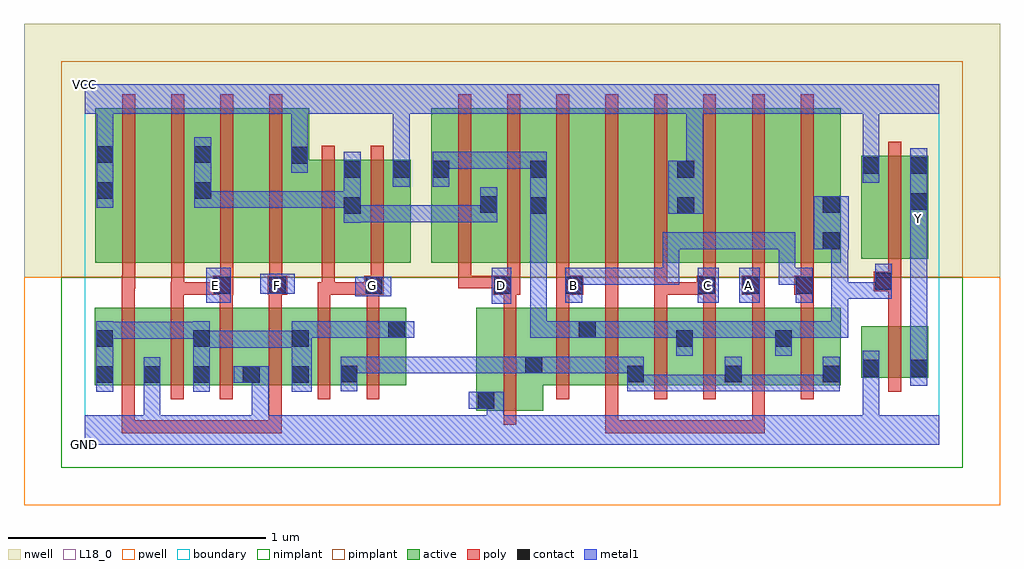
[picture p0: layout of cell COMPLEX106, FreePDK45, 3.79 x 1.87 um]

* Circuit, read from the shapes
.subckt COMPLEX106 A B C D E F G GND VCC Y
M1 GND F n1 VSUBS nfet w=0.3u l=0.05u m=2
M2 n1 E GND VSUBS nfet w=0.3u l=0.05u m=2
M3 n2 G n1 VSUBS nfet w=0.3u l=0.05u m=2
M4 n2 D GND VSUBS nfet w=0.4u l=0.05u
M5 n3 B n2 VSUBS nfet w=0.3u l=0.05u m=2
M6 n2 A n3 VSUBS nfet w=0.3u l=0.05u m=2
M7 n3 C n2 VSUBS nfet w=0.3u l=0.05u m=2
M8 Y n3 GND VSUBS nfet w=0.2u l=0.05u
M9 n4 F VCC n5 pfet w=0.6u l=0.05u
M10 n6 E n4 n5 pfet w=0.6u l=0.05u
M11 n7 E n6 n5 pfet w=0.6u l=0.05u
M12 VCC F n7 n5 pfet w=0.6u l=0.05u
M13 n6 G VCC n5 pfet w=0.4u l=0.05u m=2
M14 n6 D n3 n5 pfet w=0.6u l=0.05u m=2
M15 n8 B n3 n5 pfet w=0.6u l=0.05u
M16 n9 A n8 n5 pfet w=0.6u l=0.05u
M17 VCC C n9 n5 pfet w=0.6u l=0.05u
M18 n10 C VCC n5 pfet w=0.6u l=0.05u
M19 n11 A n10 n5 pfet w=0.6u l=0.05u
M20 n3 B n11 n5 pfet w=0.6u l=0.05u
M21 Y n3 VCC n5 pfet w=0.4u l=0.05u
.ends

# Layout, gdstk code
import gdstk
lib = gdstk.Library(unit=1e-6, precision=1e-09)
def R(c, l, rs):  # rectangles x0, y0, x1, y1
    for r in rs: c.add(gdstk.rectangle(r[:2], r[2:], *l))
def A(c, l, x, y, w, h, nx, ny, dx, dy):  # array of equal rectangles
    R(c, l, [(x+i*dx, y+j*dy, x+i*dx+w, y+j*dy+h) for i in range(nx) for j in range(ny)])
active = (1, 0)
pwell = (2, 0)
nwell = (3, 0)
nimplant = (4, 0)
pimplant = (5, 0)
poly = (9, 0)
contact = (10, 0)
metal1 = (11, 0)
L18_0 = (18, 0)
boundary = (235, 0)

complex106 = lib.new_cell('COMPLEX106')
R(complex106, active, [(1.522,0.132,1.782,0.532), (1.522,0.132,1.597,0.532), (1.707,0.2,1.782,0.405), (0.04,0.232,0.115,0.532), (0.04,0.232,0.3,0.532), (0.225,0.232,0.3,0.437), (0.225,0.232,0.492,0.532), (0.417,0.232,0.685,0.532), (0.417,0.232,0.492,0.517), (0.61,0.232,0.685,0.437), (0.61,0.232,0.875,0.532), (0.8,0.232,1.065,0.532), (0.8,0.232,0.875,0.45), (0.99,0.232,1.25,0.532), (0.99,0.232,1.065,0.392), (1.707,0.232,1.99,0.532), (1.915,0.232,2.177,0.532), (2.102,0.232,2.177,0.437), (2.102,0.232,2.367,0.532), (2.292,0.232,2.557,0.532), (2.482,0.232,2.752,0.532), (2.482,0.232,2.557,0.437), (2.677,0.232,2.937,0.532), (2.862,0.232,2.937,0.532), (3.017,0.26,3.092,0.46), (3.017,0.26,3.277,0.46), (3.202,0.26,3.277,0.46), (1.175,0.295,1.25,0.532), (1.915,0.295,1.99,0.485), (2.292,0.295,2.367,0.517), (2.677,0.295,2.752,0.45), (0.042,0.707,0.267,1.307), (0.042,0.707,0.117,1.307), (0.267,0.707,0.497,1.307), (0.422,0.707,0.497,1.2), (0.422,0.707,0.647,1.307), (0.647,0.707,0.872,1.307), (0.797,0.707,1.077,1.107), (1.002,0.707,1.077,1.107), (1.002,0.707,1.267,1.107), (1.347,0.707,1.422,1.2), (1.347,0.707,1.607,1.307), (1.532,0.707,1.8,1.307), (1.532,0.707,1.607,1.07), (1.725,0.707,1.8,1.2), (1.725,0.707,1.952,1.307), (1.952,0.707,2.142,1.307), (2.142,0.707,2.372,1.307), (2.297,0.707,2.522,1.307), (2.297,0.707,2.372,1.307), (2.522,0.707,2.712,1.307), (2.712,0.707,2.937,1.307), (2.862,0.707,2.937,1.2), (3.017,0.722,3.277,1.122), (3.017,0.722,3.092,1.122), (3.202,0.722,3.277,1.122), (1.192,0.757,1.267,1.107), (0.797,0.827,0.872,1.307)])
R(complex106, pwell, [(-0.235,-0.235,3.555,0.65)])
R(complex106, nwell, [(-0.235,0.65,3.555,1.635)])
R(complex106, nimplant, [(-0.09,-0.09,3.41,0.65)])
R(complex106, pimplant, [(-0.09,0.65,3.41,1.49)])
A(complex106, poly, 0.145, 0.177, 0.05, 0.41, 4, 1, 0.19, 0)
A(complex106, poly, 1.832, 0.177, 0.05, 0.41, 6, 1, 0.19, 0)
A(complex106, poly, 0.335, 0.537, 0.05, 0.095, 3, 1, 0.19, 0)
A(complex106, poly, 2.212, 0.537, 0.05, 0.095, 4, 1, 0.19, 0)
A(complex106, poly, 1.452, 0.607, 0.05, 0.095, 4, 1, 0.19, 0)
A(complex106, poly, 2.402, 0.607, 0.05, 0.095, 3, 1, 0.19, 0)
A(complex106, poly, 0.147, 0.652, 0.05, 0.71, 4, 1, 0.19, 0)
A(complex106, poly, 1.452, 0.652, 0.05, 0.71, 8, 1, 0.19, 0)
R(complex106, poly, [(0.145,0.045,0.195,0.227), (0.145,0.045,0.197,0.095), (0.147,0.045,0.197,0.095), (0.147,0.045,0.197,0.095), (0.147,0.045,0.415,0.095), (0.365,0.045,0.415,0.095), (0.365,0.045,0.415,0.095), (0.365,0.045,0.415,0.095), (0.365,0.045,0.547,0.095), (0.497,0.045,0.547,0.095), (0.497,0.045,0.547,0.095), (0.497,0.045,0.547,0.095), (0.497,0.045,0.765,0.095), (0.715,0.045,0.765,0.227), (0.715,0.045,0.765,0.095), (2.022,0.045,2.072,0.227), (2.022,0.045,2.072,0.095), (2.022,0.045,2.072,0.095), (2.022,0.045,2.072,0.095), (2.022,0.045,2.295,0.095), (2.245,0.045,2.295,0.095), (2.245,0.045,2.295,0.095), (2.245,0.045,2.295,0.095), (2.245,0.045,2.427,0.095), (2.377,0.045,2.427,0.095), (2.377,0.045,2.642,0.095), (2.592,0.045,2.642,0.227), (2.592,0.045,2.642,0.095), (2.592,0.045,2.642,0.095), (2.592,0.045,2.642,0.095), (1.627,0.077,1.677,0.587), (0.905,0.177,0.955,0.632), (1.095,0.177,1.145,0.587), (3.122,0.205,3.172,0.515), (3.122,0.465,3.172,0.647), (0.145,0.537,0.195,0.657), (1.095,0.537,1.145,0.632), (1.627,0.537,1.677,0.632), (1.832,0.537,1.882,0.632), (2.022,0.537,2.072,0.657), (0.335,0.582,0.387,0.632), (0.337,0.582,0.387,0.632), (0.337,0.582,0.387,0.632), (0.337,0.582,0.387,0.702), (0.337,0.582,0.547,0.632), (0.497,0.582,0.577,0.657), (0.712,0.582,0.787,0.657), (0.905,0.582,0.955,0.632), (0.905,0.582,0.972,0.632), (0.922,0.582,1.137,0.632), (0.922,0.582,0.972,0.702), (1.087,0.582,1.162,0.657), (1.087,0.582,1.137,0.632), (1.087,0.582,1.137,0.632), (1.587,0.582,1.692,0.657), (1.832,0.582,1.937,0.657), (2.212,0.582,2.262,0.632), (2.212,0.582,2.427,0.632), (2.212,0.582,2.262,0.702), (2.377,0.582,2.452,0.657), (2.377,0.582,2.427,0.632), (2.377,0.582,2.427,0.632), (2.552,0.582,2.642,0.657), (2.757,0.582,2.832,0.657), (3.065,0.597,3.172,0.672), (0.145,0.607,0.197,0.657), (0.147,0.607,0.197,0.702), (0.527,0.607,0.577,0.702), (0.717,0.607,0.767,0.702), (1.112,0.607,1.162,0.702), (1.452,0.607,1.502,0.657), (1.452,0.607,1.502,0.657), (1.452,0.607,1.502,0.657), (1.452,0.607,1.637,0.657), (2.022,0.607,2.072,0.657), (3.122,0.622,3.172,0.717), (0.922,0.652,0.972,1.162), (1.112,0.652,1.162,1.162), (3.122,0.667,3.172,1.177)])
A(complex106, contact, 2.107, 0.242, 0.065, 0.065, 3, 1, 0.38, 0)
R(complex106, contact, [(1.527,0.14,1.592,0.205), (0.045,0.24,0.11,0.305), (0.23,0.24,0.295,0.305), (0.422,0.24,0.487,0.305), (0.615,0.24,0.68,0.305), (0.805,0.24,0.87,0.305), (0.995,0.242,1.06,0.307), (3.022,0.265,3.087,0.33), (3.207,0.265,3.272,0.33), (1.712,0.277,1.777,0.342), (0.045,0.38,0.11,0.445), (0.422,0.38,0.487,0.445), (0.805,0.38,0.87,0.445), (2.297,0.38,2.362,0.445), (2.682,0.38,2.747,0.445), (1.18,0.415,1.245,0.48), (1.92,0.415,1.985,0.48), (0.502,0.587,0.567,0.652), (0.717,0.587,0.782,0.652), (1.092,0.587,1.157,0.652), (1.592,0.587,1.657,0.652), (1.867,0.587,1.932,0.652), (2.382,0.587,2.447,0.652), (2.557,0.587,2.622,0.652), (2.762,0.587,2.827,0.652), (3.07,0.602,3.135,0.667), (2.867,0.76,2.932,0.825), (1.007,0.897,1.072,0.962), (1.73,0.897,1.795,0.962), (2.302,0.897,2.367,0.962), (1.537,0.9,1.602,0.965), (2.867,0.9,2.932,0.965), (3.207,0.912,3.272,0.977), (0.047,0.955,0.112,1.02), (0.427,0.955,0.492,1.02), (1.007,1.037,1.072,1.102), (1.197,1.037,1.262,1.102), (1.352,1.037,1.417,1.102), (1.73,1.037,1.795,1.102), (2.302,1.037,2.367,1.102), (3.022,1.052,3.087,1.117), (3.207,1.052,3.272,1.117), (0.802,1.092,0.867,1.157), (0.047,1.095,0.112,1.16), (0.427,1.095,0.492,1.16)])
A(complex106, metal1, 2.107, 0.207, 0.065, 0.135, 3, 1, 0.38, 0)
R(complex106, metal1, [(0,0,3.32,0.115), (0.23,0.05,0.295,0.27), (0.65,0.05,0.715,0.115), (0.65,0.05,0.715,0.115), (0.65,0.05,0.715,0.115), (0.65,0.05,0.715,0.115), (0.65,0.05,0.715,0.305), (1.562,0.05,1.627,0.205), (3.022,0.05,3.087,0.115), (3.022,0.05,3.087,0.115), (3.022,0.05,3.087,0.295), (1.492,0.14,1.627,0.205), (1.562,0.14,1.627,0.205), (1.562,0.14,1.627,0.205), (0.045,0.205,0.112,0.48), (0.23,0.205,0.295,0.27), (0.23,0.205,0.295,0.27), (0.23,0.205,0.295,0.27), (0.23,0.205,0.295,0.27), (0.23,0.205,0.295,0.34), (0.422,0.205,0.487,0.48), (0.805,0.205,0.882,0.48), (0.995,0.207,1.06,0.342), (2.107,0.207,2.31,0.272), (2.245,0.207,2.31,0.272), (2.245,0.207,2.31,0.272), (2.245,0.207,2.31,0.272), (2.245,0.207,2.447,0.272), (2.382,0.207,2.447,0.272), (2.382,0.207,2.552,0.272), (2.487,0.207,2.69,0.272), (2.625,0.207,2.69,0.272), (2.625,0.207,2.76,0.272), (2.695,0.207,2.76,0.272), (2.695,0.207,2.932,0.272), (2.867,0.207,2.932,0.272), (2.867,0.207,2.932,0.272), (3.022,0.23,3.087,0.295), (3.022,0.23,3.087,0.295), (3.022,0.23,3.087,0.295), (3.022,0.23,3.087,0.295), (3.022,0.23,3.087,0.365), (3.207,0.23,3.272,0.365), (0.58,0.24,0.715,0.305), (0.995,0.277,1.21,0.342), (1.145,0.277,1.21,0.342), (1.145,0.277,1.21,0.342), (1.145,0.277,1.21,0.342), (1.145,0.277,1.38,0.342), (1.315,0.277,1.38,0.342), (1.315,0.277,1.38,0.342), (1.315,0.277,1.38,0.342), (1.315,0.277,1.605,0.342), (1.54,0.277,1.605,0.342), (1.54,0.277,1.605,0.342), (1.54,0.277,1.605,0.342), (1.54,0.277,1.742,0.342), (1.677,0.277,1.812,0.342), (1.747,0.277,1.812,0.342), (1.747,0.277,1.812,0.342), (1.747,0.277,1.95,0.342), (1.885,0.277,1.95,0.342), (1.885,0.277,2.172,0.342), (2.107,0.277,2.172,0.342), (2.107,0.277,2.172,0.342), (3.207,0.3,3.272,0.877), (2.297,0.345,2.362,0.48), (2.682,0.345,2.747,0.48), (0.422,0.377,0.487,0.442), (0.422,0.377,0.487,0.442), (0.422,0.377,0.71,0.442), (0.645,0.377,0.71,0.442), (0.645,0.377,0.71,0.442), (0.645,0.377,0.71,0.442), (0.645,0.377,0.87,0.442), (0.047,0.412,0.112,0.477), (0.047,0.412,0.112,0.477), (0.047,0.412,0.35,0.477), (0.285,0.412,0.35,0.477), (0.285,0.412,0.35,0.477), (0.285,0.412,0.35,0.477), (0.285,0.412,0.487,0.477), (0.817,0.415,0.882,0.48), (0.817,0.415,0.882,0.48), (0.817,0.415,1.072,0.48), (1.007,0.415,1.072,0.48), (1.007,0.415,1.072,0.48), (1.007,0.415,1.072,0.48), (1.007,0.415,1.21,0.48), (1.145,0.415,1.28,0.48), (1.73,0.415,1.795,0.48), (1.73,0.415,1.795,0.48), (1.73,0.415,1.795,0.48), (1.73,0.415,1.95,0.48), (1.73,0.415,1.795,0.927), (1.885,0.415,2.02,0.48), (1.955,0.415,2.172,0.48), (2.107,0.415,2.172,0.48), (2.107,0.415,2.172,0.48), (2.107,0.415,2.172,0.48), (2.107,0.415,2.31,0.48), (2.245,0.415,2.31,0.48), (2.245,0.415,2.362,0.48), (2.297,0.415,2.447,0.48), (2.382,0.415,2.447,0.48), (2.382,0.415,2.61,0.48), (2.545,0.415,2.61,0.48), (2.545,0.415,2.61,0.48), (2.545,0.415,2.61,0.48), (2.545,0.415,2.747,0.48), (2.682,0.415,2.95,0.48), (2.885,0.415,2.95,0.48), (2.885,0.415,2.965,0.48), (2.9,0.415,2.965,0.48), (2.9,0.415,2.965,0.632), (1.582,0.547,1.657,0.687), (0.472,0.552,0.567,0.687), (1.867,0.552,1.932,0.687), (2.382,0.552,2.462,0.687), (2.542,0.552,2.622,0.687), (2.762,0.552,2.827,0.687), (2.9,0.567,2.965,0.632), (2.9,0.567,3.135,0.632), (2.9,0.567,2.965,0.825), (3.07,0.567,3.135,0.632), (3.07,0.567,3.135,0.632), (3.07,0.567,3.135,0.702), (1.052,0.577,1.192,0.652), (0.682,0.587,0.817,0.665), (1.867,0.622,1.95,0.687), (1.885,0.622,1.95,0.687), (1.885,0.622,2.157,0.687), (2.092,0.622,2.157,0.687), (2.092,0.622,2.157,0.687), (2.092,0.622,2.157,0.687), (2.092,0.622,2.31,0.687), (2.245,0.622,2.31,0.687), (2.245,0.622,2.31,0.687), (2.245,0.622,2.31,0.687), (2.245,0.622,2.31,0.825), (2.695,0.622,2.76,0.687), (2.695,0.622,2.827,0.687), (2.695,0.622,2.76,0.825), (2.245,0.76,2.31,0.825), (2.245,0.76,2.447,0.825), (2.382,0.76,2.447,0.825), (2.382,0.76,2.61,0.825), (2.545,0.76,2.61,0.825), (2.545,0.76,2.61,0.825), (2.545,0.76,2.61,0.825), (2.545,0.76,2.76,0.825), (2.695,0.76,2.76,0.825), (2.832,0.76,2.967,0.965), (3.207,0.812,3.272,0.947), (1.007,0.862,1.072,1.137), (1.73,0.862,1.795,0.927), (1.73,0.862,1.795,0.927), (1.73,0.862,1.795,0.927), (1.73,0.862,1.795,0.927), (1.73,0.862,1.795,1.137), (1.007,0.865,1.21,0.93), (1.145,0.865,1.21,0.93), (1.145,0.865,1.21,0.93), (1.145,0.865,1.21,0.93), (1.145,0.865,1.42,0.93), (1.355,0.865,1.42,0.93), (1.355,0.865,1.42,0.93), (1.355,0.865,1.42,0.93), (1.355,0.865,1.602,0.93), (1.537,0.865,1.602,1), (3.207,0.877,3.272,0.942), (3.207,0.877,3.272,1.152), (2.267,0.897,2.402,1.102), (0.047,0.92,0.112,1.195), (0.427,0.92,0.492,0.985), (0.427,0.92,0.492,0.985), (0.427,0.92,0.492,1.195), (0.427,0.92,0.73,0.985), (0.665,0.92,0.73,0.985), (0.665,0.92,0.73,0.985), (0.665,0.92,0.73,0.985), (0.665,0.92,0.867,0.985), (0.802,0.92,0.867,0.985), (0.802,0.92,0.867,0.985), (0.802,0.92,0.867,0.985), (0.802,0.92,1.072,0.985), (1.197,1.002,1.262,1.137), (1.352,1.002,1.417,1.137), (3.022,1.017,3.087,1.152), (2.337,1.037,2.402,1.35), (0.802,1.057,0.867,1.192), (1.197,1.072,1.262,1.35), (1.352,1.072,1.417,1.137), (1.352,1.072,1.417,1.137), (1.352,1.072,1.557,1.137), (1.492,1.072,1.557,1.137), (1.492,1.072,1.557,1.137), (1.492,1.072,1.557,1.137), (1.492,1.072,1.795,1.137), (3.022,1.087,3.087,1.35), (0.802,1.127,0.867,1.35), (0.047,1.13,0.112,1.35), (0,1.285,3.32,1.4), (1.197,1.285,1.262,1.35), (1.197,1.285,1.262,1.35), (3.022,1.285,3.087,1.35), (3.022,1.285,3.087,1.35)])
R(complex106, L18_0, [(0,0,3.32,0.115), (0.23,0.05,0.295,0.27), (0.65,0.05,0.715,0.115), (0.65,0.05,0.715,0.115), (0.65,0.05,0.715,0.115), (0.65,0.05,0.715,0.115), (0.65,0.05,0.715,0.305), (1.562,0.05,1.627,0.205), (3.022,0.05,3.087,0.115), (3.022,0.05,3.087,0.115), (3.022,0.05,3.087,0.295), (1.492,0.14,1.627,0.205), (1.562,0.14,1.627,0.205), (1.562,0.14,1.627,0.205), (0.23,0.205,0.295,0.27), (0.23,0.205,0.295,0.27), (0.23,0.205,0.295,0.27), (0.23,0.205,0.295,0.27), (0.23,0.205,0.295,0.34), (3.022,0.23,3.087,0.295), (3.022,0.23,3.087,0.295), (3.022,0.23,3.087,0.295), (3.022,0.23,3.087,0.295), (3.022,0.23,3.087,0.365), (3.207,0.23,3.272,0.365), (0.58,0.24,0.715,0.305), (3.207,0.3,3.272,0.877), (1.582,0.547,1.657,0.687), (0.472,0.552,0.567,0.687), (1.867,0.552,1.932,0.687), (2.382,0.552,2.462,0.687), (2.542,0.552,2.622,0.687), (2.762,0.552,2.827,0.687), (1.052,0.577,1.192,0.652), (0.477,0.587,0.542,0.652), (0.682,0.587,0.817,0.665), (0.717,0.587,0.782,0.652), (1.087,0.587,1.152,0.652), (1.587,0.587,1.652,0.652), (1.867,0.587,1.932,0.652), (2.387,0.587,2.452,0.652), (2.547,0.587,2.612,0.652), (1.867,0.622,1.95,0.687), (1.885,0.622,1.95,0.687), (1.885,0.622,2.157,0.687), (2.092,0.622,2.157,0.687), (2.092,0.622,2.157,0.687), (2.092,0.622,2.157,0.687), (2.092,0.622,2.31,0.687), (2.245,0.622,2.31,0.687), (2.245,0.622,2.31,0.687), (2.245,0.622,2.31,0.687), (2.245,0.622,2.31,0.825), (2.695,0.622,2.76,0.687), (2.695,0.622,2.76,0.825), (2.695,0.622,2.827,0.687), (2.245,0.76,2.31,0.825), (2.245,0.76,2.447,0.825), (2.382,0.76,2.447,0.825), (2.382,0.76,2.61,0.825), (2.545,0.76,2.61,0.825), (2.545,0.76,2.61,0.825), (2.545,0.76,2.61,0.825), (2.545,0.76,2.76,0.825), (2.695,0.76,2.76,0.825), (3.207,0.812,3.272,0.947), (3.207,0.847,3.272,0.912), (3.207,0.877,3.272,1.152), (3.207,0.877,3.272,0.942), (2.267,0.897,2.402,1.102), (0.047,0.92,0.112,1.195), (1.197,1.002,1.262,1.137), (3.022,1.017,3.087,1.152), (2.337,1.037,2.402,1.35), (0.802,1.057,0.867,1.192), (1.197,1.072,1.262,1.35), (3.022,1.087,3.087,1.35), (0.802,1.127,0.867,1.35), (0.047,1.13,0.112,1.35), (0,1.285,3.32,1.4), (1.197,1.285,1.262,1.35), (1.197,1.285,1.262,1.35), (3.022,1.285,3.087,1.35), (3.022,1.285,3.087,1.35)])
R(complex106, boundary, [(0,0,3.32,1.4)])
complex106.add(gdstk.Label('A', (2.58,0.62), layer=11, texttype=0))
complex106.add(gdstk.Label('B', (1.9,0.62), layer=11, texttype=0))
complex106.add(gdstk.Label('C', (2.42,0.62), layer=11, texttype=0))
complex106.add(gdstk.Label('D', (1.62,0.62), layer=11, texttype=0))
complex106.add(gdstk.Label('E', (0.51,0.62), layer=11, texttype=0))
complex106.add(gdstk.Label('F', (0.75,0.62), layer=11, texttype=0))
complex106.add(gdstk.Label('G', (1.12,0.62), layer=11, texttype=0))
complex106.add(gdstk.Label('Y', (3.24,0.88), layer=11, texttype=0))
complex106.add(gdstk.Label('VCC', (0,1.4), layer=11, texttype=0))
complex106.add(gdstk.Label('GND', (0,0), layer=11, texttype=0))

lib.write_gds('COMPLEX106.gds')
